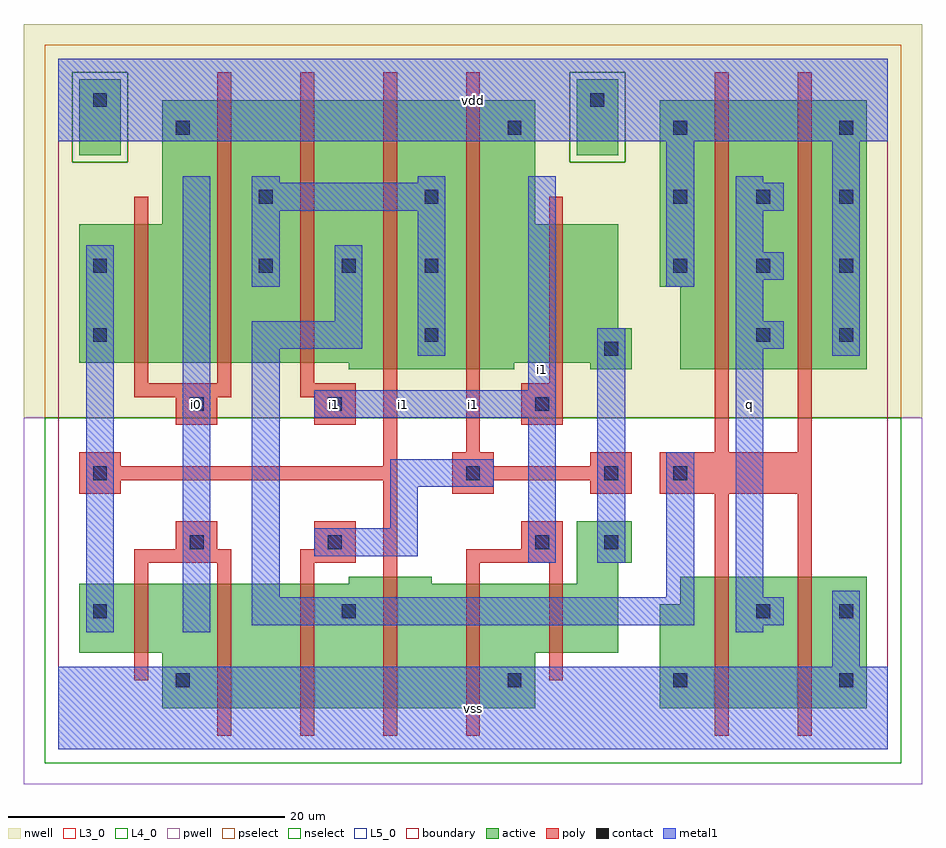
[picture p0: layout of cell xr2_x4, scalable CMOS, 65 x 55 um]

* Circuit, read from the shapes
.subckt xr2_x4 i0 i1 q vdd vss
M1 vss i0 n1 VSUBS nfet w=5u l=1u
M2 n2 i0 vss VSUBS nfet w=9u l=1u
M3 n3 n4 n2 VSUBS nfet w=9u l=1u
M4 n5 n1 n3 VSUBS nfet w=9.5u l=1u
M5 vss i1 n5 VSUBS nfet w=9u l=1u
M6 n4 i1 vss VSUBS nfet w=5u l=1u
M7 q n3 vss VSUBS nfet w=9.5u l=1u m=2
M8 vdd i0 n1 vdd pfet w=10u l=1u
M9 n6 i0 vdd vdd pfet w=19u l=1u
M10 n3 i1 n6 vdd pfet w=19u l=1u
M11 n6 n1 n3 vdd pfet w=19.5u l=1u
M12 vdd n4 n6 vdd pfet w=19.5u l=1u
M13 n4 i1 vdd vdd pfet w=10u l=1u
M14 q n3 vdd vdd pfet w=19.5u l=1u m=2
.ends

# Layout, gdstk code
import gdstk
lib = gdstk.Library(unit=1e-6, precision=1e-09)
def R(c, l, rs):  # rectangles x0, y0, x1, y1
    for r in rs: c.add(gdstk.rectangle(r[:2], r[2:], *l))
def A(c, l, x, y, w, h, nx, ny, dx, dy):  # array of equal rectangles
    R(c, l, [(x+i*dx, y+j*dy, x+i*dx+w, y+j*dy+h) for i in range(nx) for j in range(ny)])
L3_0 = (3, 0)
L4_0 = (4, 0)
L5_0 = (5, 0)
contact = (25, 0)
pwell = (41, 0)
nwell = (42, 0)
active = (43, 0)
pselect = (44, 0)
nselect = (45, 0)
poly = (46, 0)
metal1 = (49, 0)
boundary = (63, 0)

xr2_x4 = lib.new_cell('xr2_x4')
R(xr2_x4, L3_0, [(7.5,3,34.5,7), (43.5,3,58.5,10.5), (1.5,7,40.5,12), (45,10.5,58.5,12.5), (21,12,27,12.5), (37.5,12,40.5,13.5), (37.5,13.5,41.5,16.5)])
R(xr2_x4, L4_0, [(21,27.5,33,28), (38.5,27.5,41.5,28), (45,27.5,58.5,33.5), (1.5,28,41.5,30.5), (1.5,30.5,40.5,38), (43.5,33.5,58.5,47), (7.5,38,34.5,47)])
R(xr2_x4, L5_0, [(1.5,43,4.5,48.5), (37.5,43,40.5,48.5)])
A(xr2_x4, contact, 32.5, 4.5, 1, 1, 3, 2, 12, 40)
A(xr2_x4, contact, 2.5, 29.5, 1, 1, 3, 1, 24, 0)
A(xr2_x4, contact, 14.5, 34.5, 1, 1, 3, 1, 6, 0)
A(xr2_x4, contact, 44.5, 34.5, 1, 1, 3, 2, 6, 5)
R(xr2_x4, contact, [(8.5,4.5,9.5,5.5), (2.5,9.5,3.5,10.5), (20.5,9.5,21.5,10.5), (50.5,9.5,51.5,10.5), (56.5,9.5,57.5,10.5), (9.5,14.5,10.5,15.5), (19.5,14.5,20.5,15.5), (34.5,14.5,35.5,15.5), (39.5,14.5,40.5,15.5), (2.5,19.5,3.5,20.5), (29.5,19.5,30.5,20.5), (39.5,19.5,40.5,20.5), (44.5,19.5,45.5,20.5), (9.5,24.5,10.5,25.5), (19.5,24.5,20.5,25.5), (34.5,24.5,35.5,25.5), (39.5,28.5,40.5,29.5), (56.5,29.5,57.5,30.5), (2.5,34.5,3.5,35.5), (14.5,39.5,15.5,40.5), (26.5,39.5,27.5,40.5), (8.5,44.5,9.5,45.5), (2.5,46.5,3.5,47.5), (38.5,46.5,39.5,47.5)])
R(xr2_x4, pwell, [(-2.5,-2.5,62.5,24)])
R(xr2_x4, nwell, [(-2.5,24,62.5,52.5)])
R(xr2_x4, active, [(7.5,3,34.5,7), (43.5,3,58.5,10.5), (1.5,7,40.5,12), (45,10.5,58.5,12.5), (21,12,27,12.5), (37.5,12,40.5,13.5), (37.5,13.5,41.5,16.5), (21,27.5,33,28), (38.5,27.5,41.5,28), (45,27.5,58.5,33.5), (1.5,28,41.5,30.5), (1.5,30.5,40.5,38), (43.5,33.5,58.5,47), (7.5,38,34.5,47), (1.5,43,4.5,48.5), (37.5,43,40.5,48.5)])
R(xr2_x4, pselect, [(-1,24,61,42.5), (-1,42.5,1,49), (5,42.5,37,49), (41,42.5,61,49), (-1,49,61,51)])
R(xr2_x4, nselect, [(-1,-1,61,24), (1,42.5,5,49), (37,42.5,41,49)])
R(xr2_x4, poly, [(11.5,1,12.5,13.5), (17.5,1,18.5,13.5), (23.5,1,24.5,19.5), (29.5,1,30.5,13.5), (47.5,1,48.5,18.5), (53.5,1,54.5,18.5), (5.5,5,6.5,13.5), (35.5,5,36.5,13.5), (5.5,13.5,12.5,14.5), (17.5,13.5,21.5,14.5), (29.5,13.5,36.5,14.5), (8.5,14.5,11.5,16.5), (18.5,14.5,21.5,16.5), (33.5,14.5,36.5,16.5), (1.5,18.5,4.5,19.5), (28.5,18.5,31.5,19.5), (38.5,18.5,41.5,19.5), (43.5,18.5,54.5,21.5), (1.5,19.5,24.5,20.5), (28.5,19.5,41.5,20.5), (1.5,20.5,4.5,21.5), (23.5,20.5,24.5,49), (28.5,20.5,31.5,21.5), (38.5,20.5,41.5,21.5), (29.5,21.5,30.5,49), (47.5,21.5,48.5,49), (53.5,21.5,54.5,49), (8.5,23.5,11.5,25.5), (18.5,23.5,21.5,25.5), (33.5,23.5,36.5,26.5), (5.5,25.5,12.5,26.5), (17.5,25.5,21.5,26.5), (5.5,26.5,6.5,40), (11.5,26.5,12.5,49), (17.5,26.5,18.5,49), (35.5,26.5,36.5,40)])
R(xr2_x4, metal1, [(0,0,60,6), (0,0,60,6), (56,6,58,11.5), (56,6,58,11.5), (2,8.5,4,36.5), (2,8.5,4,36.5), (9,8.5,11,41.5), (9,8.5,11,41.5), (49,8.5,51,9), (49,8.5,51,9), (14,9,46,11), (14,9,46,11), (49,9,52.5,11), (49,9,52.5,11), (14,11,16,29), (14,11,16,29), (44,11,46,21.5), (44,11,46,21.5), (49,11,51,29), (49,11,51,29), (34,13.5,36,24), (34,13.5,36,24), (39,13.5,41,30.5), (39,13.5,41,30.5), (18.5,14,26,16), (18.5,14,26,16), (24,16,26,19), (24,16,26,19), (24,19,31.5,21), (24,19,31.5,21), (18.5,24,36,26), (18.5,24,36,26), (34,26,36,41.5), (34,26,36,41.5), (26,28.5,28,39), (26,28.5,28,39), (56,28.5,58,44), (56,28.5,58,44), (14,29,22,31), (14,29,22,31), (49,29,52.5,31), (49,29,52.5,31), (20,31,22,36.5), (20,31,22,36.5), (49,31,51,34), (49,31,51,34), (14,33.5,16,39), (14,33.5,16,39), (44,33.5,46,44), (44,33.5,46,44), (49,34,52.5,36), (49,34,52.5,36), (49,36,51,39), (49,36,51,39), (14,39,28,41), (14,39,28,41), (49,39,52.5,41), (49,39,52.5,41), (14,41,16,41.5), (14,41,16,41.5), (26,41,28,41.5), (26,41,28,41.5), (49,41,51,41.5), (49,41,51,41.5), (0,44,60,50), (0,44,60,50)])
R(xr2_x4, boundary, [(0,0,60,50)])
xr2_x4.add(gdstk.Label('i0', (10,25), layer=49, texttype=0))
xr2_x4.add(gdstk.Label('i1', (20,25), layer=49, texttype=0))
xr2_x4.add(gdstk.Label('i1', (25,25), layer=49, texttype=0))
xr2_x4.add(gdstk.Label('vss', (30,3), layer=49, texttype=0))
xr2_x4.add(gdstk.Label('i1', (30,25), layer=49, texttype=0))
xr2_x4.add(gdstk.Label('i1', (35,27.5), layer=49, texttype=0))
xr2_x4.add(gdstk.Label('vdd', (30,47), layer=49, texttype=0))
xr2_x4.add(gdstk.Label('q', (50,25), layer=49, texttype=0))

lib.write_gds('xr2_x4.gds')
